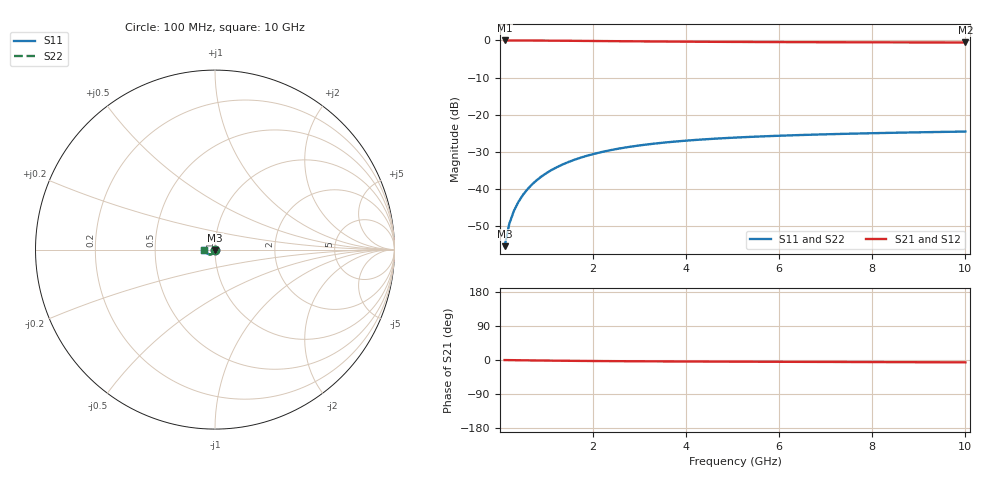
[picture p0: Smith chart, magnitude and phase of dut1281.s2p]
! Touchstone file exported from HFSS 2024.1.0
!  File:  C:/UserFiles/LocalFiles/RDL_TSV_Batchsim/temp_TSV1_1281_1780255301.aedt
!  Generated:  03:27:24 AM Jun  1, 2026
!  Design:  TSV1
!  Project:  temp_TSV1_1281_1780255301
!  Setup:  Setup1
!  Solution:  Sweep
! Variables:
!  dtsv = 11.52um
!  hbump = 3um
!  htsv = 98.57um
!  lrdl = 252.1521522um
!  p = 40
!  p1 = 54.34um
!  t = 500um
!  trdl = 3um
!  wrdl = 24.89489489um
# GHz S MA R 50.000000
! Terminal data exported
! Port[1] = TSV22_T1
! Port[2] = TSV22_T2
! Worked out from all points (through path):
!   100 points, 100 MHz to 10 GHz, reference 50 ohm
!   highest |S21| = 0.00 dB at 100 MHz (marker M1); lowest = -0.5 dB at 10 GHz (marker M2)
!   lowest |S11| = -55.4 dB at 100 MHz (marker M3), VSWR 1.00, Z = 50 - j0.17 ohm
!   |S11| at or under -10 dB: start of sweep to end of sweep
!   |S22| runs from -55.4 to -24.5 dB; largest |S21 - S12| = 3.2e-15
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0.1  0.001697 -87.7  0.9998 -0.2  0.9998 -0.2  0.001697 -87.7
! Gamma 0 0 0 0
! Port Impedance 50 0 50 0
0.2  0.003387 -91.5  0.9996 -0.3  0.9996 -0.3  0.003387 -91.5
0.3  0.005075 -94.0  0.9993 -0.5  0.9993 -0.5  0.005075 -94.0
0.4  0.006754 -96.2  0.9989 -0.6  0.9989 -0.6  0.006754 -96.2
0.5  0.00842 -98.2  0.9984 -0.8  0.9984 -0.8  0.00842 -98.2
0.6  0.01007 -100.2  0.9979 -0.9  0.9979 -0.9  0.01007 -100.2
0.7  0.01169 -102.1  0.9972 -1.1  0.9972 -1.1  0.01169 -102.1
0.8  0.01328 -104.0  0.9964 -1.2  0.9964 -1.2  0.01328 -104.0
0.9  0.01485 -105.9  0.9956 -1.4  0.9956 -1.4  0.01485 -105.9
1.1  0.01787 -109.5  0.9937 -1.6  0.9937 -1.6  0.01787 -109.5
1.4  0.02211 -114.6  0.9906 -2.0  0.9906 -2.0  0.02211 -114.6
1.6  0.02473 -117.9  0.9883 -2.2  0.9883 -2.2  0.02473 -117.9
1.8  0.02718 -121.0  0.9859 -2.5  0.9859 -2.5  0.02718 -121.0
2.1  0.03054 -125.3  0.9823 -2.7  0.9823 -2.7  0.03054 -125.3
2.5  0.03447 -130.7  0.9776 -3.1  0.9776 -3.1  0.03447 -130.7
2.9  0.03782 -135.6  0.9731 -3.3  0.9731 -3.3  0.03782 -135.6
3.4  0.04133 -141.0  0.968 -3.6  0.968 -3.6  0.04133 -141.0
4.2  0.04571 -148.4  0.9611 -4.0  0.9611 -4.0  0.04571 -148.4
5.1  0.04935 -155.4  0.9551 -4.4  0.9551 -4.4  0.04935 -155.4
6.7  0.05381 -165.4  0.9475 -5.0  0.9475 -5.0  0.05381 -165.4
8.4  0.05702 -173.7  0.9422 -5.6  0.9422 -5.6  0.05702 -173.7
10  0.05932 179.7  0.9389 -6.2  0.9389 -6.2  0.05932 179.7
